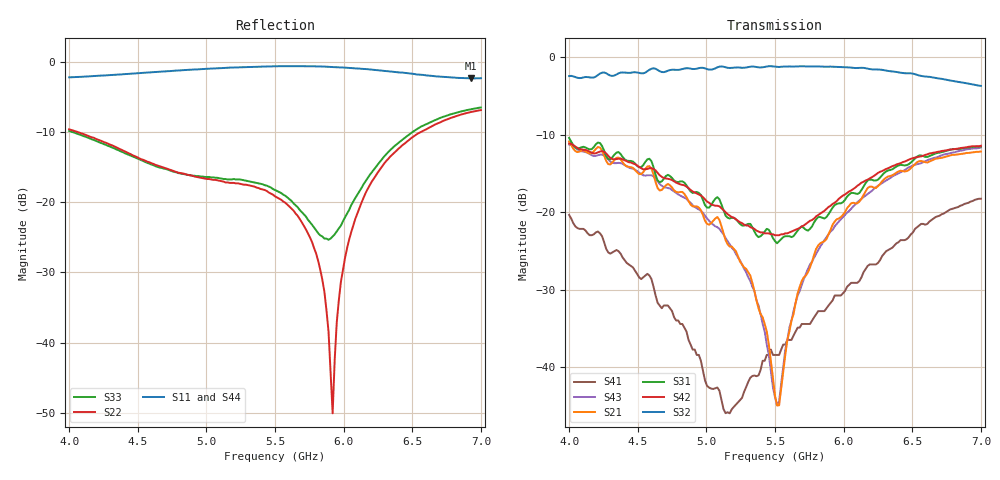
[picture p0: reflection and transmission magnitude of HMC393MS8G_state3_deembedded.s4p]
!Hittite Microwave Corporation
!12 Elizabeth Drive
!Chelmsford, MA 01824
!Tel: 978-250-3343
!Fax: 978-250-3373
!Device: HMC393MS8G, 5-6 GHz GaAs MMIC DPDT Diversity Switch in 8-lead Grounded Base surface Mount Plastic Package
!Misc:  Port 1 = ANT1, Port 2 = ANT2, Port 3 = Tx, Port 4 = Rx, Vctl=+5V, State 3 selected, Room
# MHZ S MA R 50
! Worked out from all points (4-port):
!   201 points, 4 GHz to 7 GHz, reference 50 ohm
!   strongest paths, dB at 4 GHz, 4.75 GHz, 5.5 GHz, 6.25 GHz, 7 GHz:
!     S32: -2.5, -1.6, -1.2, -1.6, -3.7
!     S42: -11.2, -15.9, -23.0, -14.9, -11.4
!     S31: -10.4, -15.6, -23.7, -15.8, -11.5
!     S21: -10.9, -16.8, -43.7, -16.7, -12.2
!     S43: -11.3, -17.1, -43.9, -16.6, -11.7
!     S41: -20.4, -32.8, -38.4, -26.6, -18.3
!   lowest |S11| = -2.4 dB at 6.925 GHz (marker M1), VSWR 7.30, Z = 8.56 - j24.7 ohm
!   |S11| at or under -10 dB: nowhere
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4000  0.772 -3.3  0.272 2.5  0.286 8.6  0.1 -55.9
      0.286 -2.7  0.33 64.4  0.739 55.4  0.297 7.4
      0.301 3.5  0.754 54.0  0.321 61.7  0.292 1.9
      0.096 -59.9  0.277 7.2  0.273 1.6  0.764 -2.1
5080  0.895 -38.4  0.08 -10.2  0.108 21.1  0.006078 -112.5
      0.093 -9.0  0.143 6.2  0.852 52.7  0.114 22.2
      0.125 21.9  0.859 53.6  0.149 9.1  0.083 -9.4
      0.007395 -112.1  0.11 23.0  0.08 -8.5  0.896 -39.7
5515  0.926 -47.1  0.006159 -88.9  0.07 66.1  0.012 164.4
      0.005663 -92.2  0.108 -16.5  0.871 50.3  0.067 65.1
      0.063 65.5  0.865 50.5  0.12 1.6  0.005428 -103.3
      0.012 167.6  0.071 68.6  0.005695 -100.3  0.928 -47.3
5920  0.914 -59.1  0.082 172.8  0.106 112.3  0.026 -176.5
      0.083 175.3  0.003146 67.5  0.867 47.7  0.109 112.2
      0.107 114.6  0.867 47.7  0.057 69.6  0.075 173.9
      0.027 -174.1  0.113 113.2  0.077 174.7  0.916 -57.6
6160  0.884 -70.4  0.134 165.9  0.15 121.1  0.04 -168.4
      0.136 168.9  0.116 135.3  0.847 45.2  0.152 120.3
      0.154 124.0  0.848 44.9  0.141 115.3  0.122 170.7
      0.043 -165.5  0.16 119.6  0.128 170.0  0.881 -68.6
6925  0.759 -126.3  0.237 145.3  0.257 113.8  0.116 -178.2
      0.242 145.6  0.437 114.1  0.67 40.8  0.268 112.7
      0.262 114.2  0.671 40.7  0.457 114.8  0.259 149.9
      0.117 -177.9  0.265 112.7  0.256 149.9  0.729 -129.7
7000  0.761 -131.7  0.24 144.2  0.26 113.0  0.123 179.4
      0.246 144.0  0.451 113.5  0.652 41.0  0.273 111.4
      0.265 112.6  0.652 41.2  0.471 114.6  0.267 147.9
      0.122 179.6  0.268 112.0  0.261 148.5  0.731 -135.8
